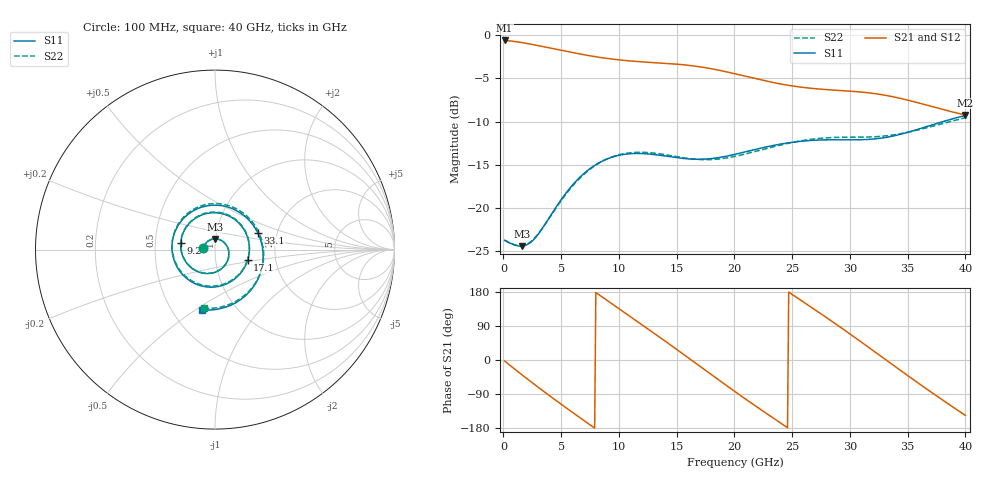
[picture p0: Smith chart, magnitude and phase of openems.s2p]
! D_s8_stitch_5p0: L1 (ref L2) → L8 (ref L7), one GND via at 5 mm
! stackup: 8-layer 1.6 mm FR-4 (generic)
! ports: 1, 2
! openEMS 0.37.0, staircase, fine mesh (dfine 0.0175 mm), 1693692 cells
# Hz S RI R 50
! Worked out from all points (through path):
!   400 points, 100 MHz to 40 GHz, reference 50 ohm
!   highest |S21| = -0.60 dB at 100 MHz (marker M1); lowest = -9.2 dB at 40 GHz (marker M2)
!   group delay of S21, straight-line fit = 59.7 ps
!   lowest |S11| = -24.5 dB at 1.6 GHz (marker M3), VSWR 1.13, Z = 49.8 + j5.98 ohm
!   |S11| at or under -10 dB: start of sweep to 38.07 GHz
!   |S22| runs from -24.4 to -9.6 dB; largest |S21 - S12| = 0.0021
!   S11 on the Smith chart (normalised r, x): 100 MHz: 0.88, +0.01; 9.2 GHz: 0.68, +0.05; 17.1 GHz: 1.43, -0.17; 33.1 GHz: 1.58, +0.32; 40 GHz: 0.70, -0.53
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1e8  -0.0644 0.00709  0.9329 -0.0412  0.9329 -0.0412  -0.0643 0.00712
1.6e9  0.00184 0.0598  0.7051 -0.5712  0.7051 -0.5712  0.00191 0.0603
2.8e9  0.0621 0.0263  0.3415 -0.808  0.3415 -0.808  0.0622 0.0273
4e9  0.0748 -0.0469  -0.0653 -0.8424  -0.0652 -0.8425  0.0751 -0.0455
5.5e9  0.00804 -0.1235  -0.4938 -0.637  -0.494 -0.6371  0.00862 -0.1218
6.8e9  -0.0903 -0.1251  -0.7089 -0.3142  -0.7091 -0.3141  -0.0897 -0.1235
9.2e9  -0.191 0.0363  -0.6495 0.3358  -0.6493 0.3361  -0.191 0.0381
1.14e10  -0.0839 0.1886  -0.1947 0.6791  -0.1944 0.6788  -0.0849 0.1914
1.34e10  0.0828 0.1844  0.3141 0.6169  0.3137 0.6166  0.0815 0.1891
1.53e10  0.1799 0.0728  0.631 0.2469  0.6308 0.2474  0.1795 0.0793
1.71e10  0.1824 -0.0569  0.6211 -0.2089  0.6217 -0.2085  0.1836 -0.0496
1.87e10  0.1231 -0.152  0.3683 -0.507  0.3691 -0.5074  0.1256 -0.145
2.01e10  0.0354 -0.2013  0.057 -0.5945  0.0572 -0.5955  0.0385 -0.1951
2.16e10  -0.0775 -0.2019  -0.2523 -0.5057  -0.2531 -0.5065  -0.0745 -0.1967
2.35e10  -0.2 -0.115  -0.4844 -0.2148  -0.4854 -0.2144  -0.1981 -0.1106
2.67e10  -0.1998 0.1431  -0.3674 0.3279  -0.3667 0.3284  -0.201 0.1482
2.97e10  0.024 0.2465  0.1213 0.4605  0.1211 0.4599  0.0205 0.2556
3.15e10  0.1585 0.1918  0.3758 0.2738  0.3752 0.2741  0.1556 0.2046
3.31e10  0.2378 0.0941  0.4486 0.00571  0.4487 0.00676  0.237 0.1096
3.34e10  0.2475 0.0723  0.4424 -0.0457  0.4427 -0.0447  0.2473 0.0881
3.66e10  0.2242 -0.1916  0.0984 -0.3821  0.0997 -0.3833  0.2314 -0.1755
4e10  -0.0725 -0.3354  -0.2873 -0.1916  -0.2892 -0.1925  -0.0631 -0.327
